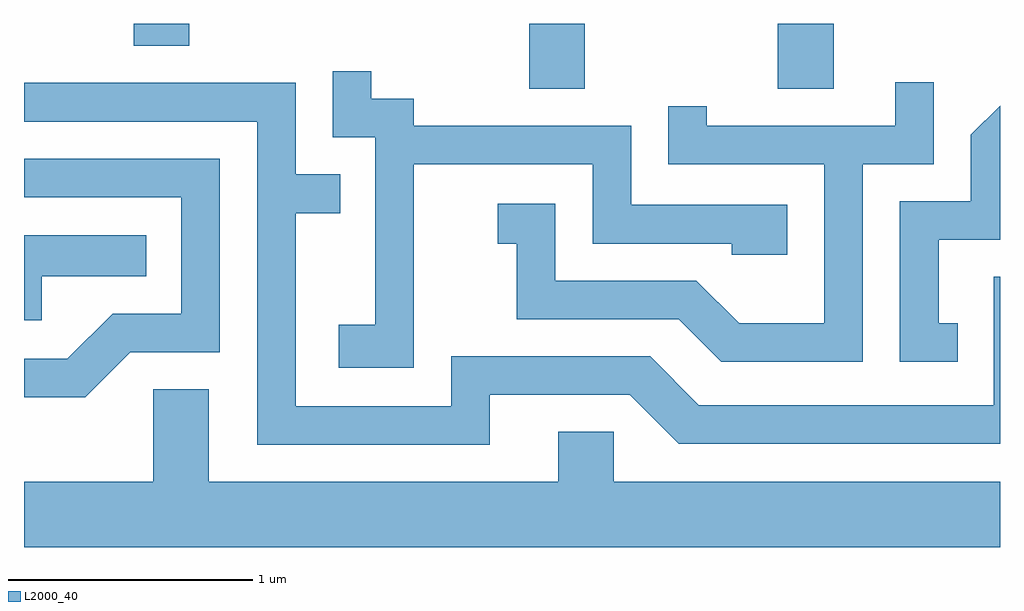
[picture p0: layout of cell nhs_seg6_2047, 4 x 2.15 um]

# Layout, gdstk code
import gdstk
lib = gdstk.Library(unit=1e-6, precision=1e-09)
def R(c, l, rs):  # rectangles x0, y0, x1, y1
    for r in rs: c.add(gdstk.rectangle(r[:2], r[2:], *l))
def P(c, l, *ps):  # polygons
    for p in ps: c.add(gdstk.Polygon(p, *l))
L2000_40 = (2000, 40)

nhs_seg6_2047 = lib.new_cell('nhs_seg6_2047')
R(nhs_seg6_2047, L2000_40, [(249.681,1571.896,249.909,1572.162), (250.701,1571.896,250.929,1572.162), (248.061,1572.071,248.289,1572.162)])
P(nhs_seg6_2047, L2000_40, [(249.209,1571.586),(249.941,1571.586),(249.941,1571.261),(250.511,1571.261),(250.511,1571.216),(250.739,1571.216),(250.739,1571.419),(250.099,1571.419),(250.099,1571.744),(249.209,1571.744),(249.209,1571.854),(249.034,1571.854),(249.034,1571.968),(248.876,1571.968),(248.876,1571.696),(249.051,1571.696),(249.051,1570.929),(248.901,1570.929),(248.901,1570.751),(249.209,1570.751)],
  [(251.049,1571.586),(251.339,1571.586),(251.339,1571.923),(251.181,1571.923),(251.181,1571.744),(250.409,1571.744),(250.409,1571.823),(250.251,1571.823),(250.251,1571.586),(250.891,1571.586),(250.891,1570.934),(250.542,1570.934),(250.367,1571.109),(249.789,1571.109),(249.789,1571.424),(249.553,1571.424),(249.553,1571.261),(249.631,1571.261),(249.631,1570.951),(250.294,1570.951),(250.469,1570.776),(251.049,1570.776)],
  [(249.519,1570.641),(250.094,1570.641),(250.294,1570.441),(251.611,1570.441),(251.611,1571.124),(251.586,1571.124),(251.586,1570.599),(250.377,1570.599),(250.177,1570.799),(249.361,1570.799),(249.361,1570.594),(248.724,1570.594),(248.724,1571.386),(248.908,1571.386),(248.908,1571.544),(248.724,1571.544),(248.724,1571.919),(247.611,1571.919),(247.611,1571.761),(248.566,1571.761),(248.566,1570.436),(249.519,1570.436)],
  [(251.438,1570.934),(251.359,1570.934),(251.359,1571.276),(251.611,1571.276),(251.611,1571.826),(251.491,1571.707),(251.491,1571.434),(251.201,1571.434),(251.201,1570.776),(251.438,1570.776)],
  [(248.047,1570.816),(248.414,1570.816),(248.414,1571.609),(247.611,1571.609),(247.611,1571.451),(248.256,1571.451),(248.256,1570.974),(247.974,1570.974),(247.789,1570.789),(247.611,1570.789),(247.611,1570.631),(247.862,1570.631)],
  [(247.684,1571.126),(248.113,1571.126),(248.113,1571.294),(247.611,1571.294),(247.611,1570.946),(247.684,1570.946)],
  [(251.611,1570.284),(250.029,1570.284),(250.029,1570.489),(249.801,1570.489),(249.801,1570.284),(248.369,1570.284),(248.369,1570.664),(248.141,1570.664),(248.141,1570.284),(247.611,1570.284),(247.611,1570.016),(251.611,1570.016)])

lib.write_gds('nhs_seg6_2047.gds')
